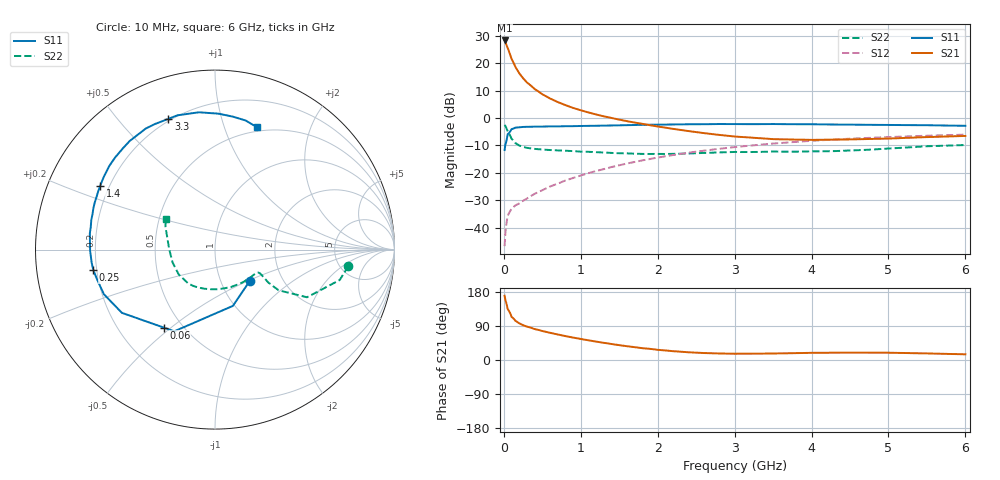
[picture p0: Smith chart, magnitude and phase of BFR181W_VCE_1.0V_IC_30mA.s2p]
! Infineon Technologies  Discrete & RF Semiconductors
! BFR181W
! VCE =  1.0 V,  IC =  30 mA
! Common Emitter S-Parameters:  Jan 2017
# GHz  S  MA  R  50
!  f  S11  S21  S12  S22
! GHz  MAG  ANG  MAG  ANG  MAG  ANG  MAG  ANG
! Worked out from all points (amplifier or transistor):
!   77 points, 10 MHz to 6 GHz, reference 50 ohm
!   highest |S21| = 28.3 dB at 10 MHz (marker M1)
!   |S21| within 3 dB of that: start of sweep to 53.37 MHz
!   unconditionally stable (mu >= 1): start of sweep to 24.22 MHz; 148.5 MHz to end of sweep
!   at 130 MHz: K = 0.93, MSG = 26.1 dB, |S12| = -32.4 dB
!   at 2.2 GHz: K = 1.45, MAG = 0.8 dB, |S12| = -13.5 dB
!   at 6 GHz: K = 1.27, MAG = -3.3 dB, |S12| = -6.1 dB
!   S11 on the Smith chart (normalised r, x): 10 MHz: 1.37, -0.51; 60 MHz: 0.40, -0.47; 250 MHz: 0.19, -0.08; 1.4 GHz: 0.17, +0.25; 3.3 GHz: 0.19, +0.69; 6 GHz: 0.45, +1.29
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0.01  0.2608 -41.9  25.98 169.5  0.0046 63.9  0.7481 -7.1
0.02  0.3292 -72.4  24.56 158.4  0.008 68.0  0.7153 -13.7
0.05  0.5085 -116.5  18.91 134.5  0.0165 52.0  0.5772 -27.4
0.06  0.5198 -123.3  17.4 131.7  0.0176 50.2  0.5454 -28.2
0.1  0.627 -145.8  12.03 113.8  0.0221 44.9  0.4199 -32.6
0.15  0.6672 -158.1  8.572 103.6  0.0255 45.5  0.3498 -31.7
0.2  0.6771 -165.5  6.568 96.8  0.0277 48.5  0.3154 -29.9
0.25  0.6876 -170.5  5.321 91.9  0.0309 51.1  0.298 -28.7
0.3  0.691 -174.0  4.46 88.1  0.034 53.5  0.2856 -27.9
0.4  0.6959 -179.5  3.384 81.7  0.0414 59.1  0.2735 -27.9
0.5  0.6982 176.3  2.715 76.5  0.0482 63.2  0.2662 -29.3
0.6  0.7032 172.6  2.275 71.8  0.0563 66.0  0.2607 -31.2
0.7  0.7034 169.8  1.956 67.4  0.0635 68.7  0.2567 -33.4
0.9  0.7104 163.9  1.529 59.2  0.0806 70.3  0.2493 -39.6
1.1  0.7196 158.6  1.264 52.0  0.0988 71.7  0.242 -46.4
1.4  0.7312 151.1  1.002 42.2  0.1276 71.6  0.2309 -58.3
2.1  0.7593 134.7  0.667 25.2  0.2005 66.9  0.221 -90.9
3.1  0.774 113.7  0.45 16.6  0.304 55.1  0.2396 -132.3
3.3  0.7735 109.6  0.431 16.8  0.3229 52.4  0.2407 -139.1
4.1  0.7666 95.1  0.401 19.0  0.391 42.0  0.2468 -166.8
5.1  0.7454 81.3  0.427 18.8  0.4546 29.8  0.2827 162.2
6  0.7212 71.2  0.471 15.0  0.4979 20.2  0.3219 148.0
